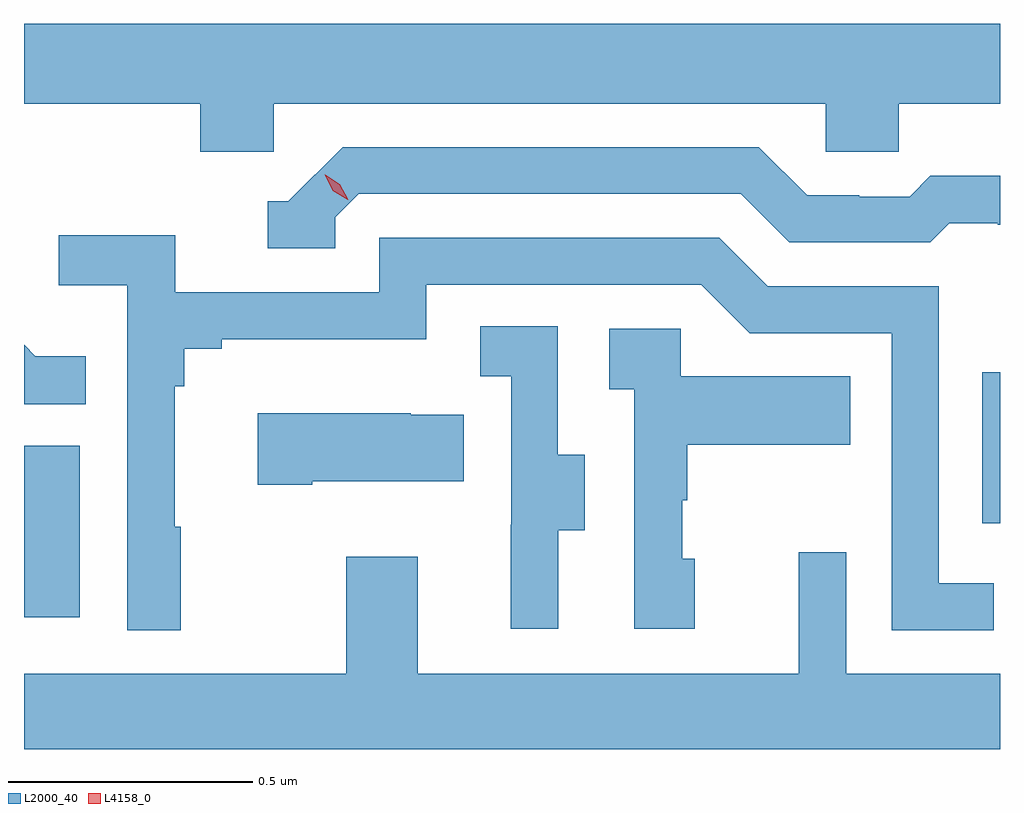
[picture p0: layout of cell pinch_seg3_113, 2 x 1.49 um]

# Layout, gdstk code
import gdstk
lib = gdstk.Library(unit=1e-6, precision=1e-09)
def R(c, l, rs):  # rectangles x0, y0, x1, y1
    for r in rs: c.add(gdstk.rectangle(r[:2], r[2:], *l))
def P(c, l, *ps):  # polygons
    for p in ps: c.add(gdstk.Polygon(p, *l))
L2000_40 = (2000, 40)
L4158_0 = (4158, 0)

pinch_seg3_113 = lib.new_cell('pinch_seg3_113')
R(pinch_seg3_113, L2000_40, [(1020.754,707.856,1020.868,708.207), (1022.718,708.048,1022.754,708.358)])
P(pinch_seg3_113, L2000_40, [(1020.754,708.908),(1021.115,708.908),(1021.115,708.81),(1021.266,708.81),(1021.266,708.908),(1022.397,708.908),(1022.397,708.81),(1022.547,708.81),(1022.547,708.908),(1022.754,708.908),(1022.754,709.072),(1020.754,709.072)],
  [(1021.392,708.675),(1021.44,708.723),(1022.223,708.723),(1022.322,708.624),(1022.611,708.624),(1022.65,708.663),(1022.749,708.663),(1022.749,708.66),(1022.754,708.66),(1022.754,708.76),(1022.611,708.76),(1022.569,708.717),(1022.466,708.717),(1022.466,708.72),(1022.359,708.72),(1022.26,708.819),(1021.407,708.819),(1021.296,708.708),(1021.253,708.708),(1021.253,708.612),(1021.392,708.612)],
  [(1021.075,708.041),(1021.063,708.041),(1021.063,708.329),(1021.082,708.329),(1021.082,708.406),(1021.159,708.406),(1021.159,708.425),(1021.578,708.425),(1021.578,708.537),(1022.142,708.537),(1022.241,708.438),(1022.532,708.438),(1022.532,707.829),(1022.741,707.829),(1022.741,707.925),(1022.628,707.925),(1022.628,708.534),(1022.278,708.534),(1022.179,708.633),(1021.482,708.633),(1021.482,708.522),(1021.064,708.522),(1021.064,708.638),(1020.825,708.638),(1020.825,708.536),(1020.966,708.536),(1020.966,707.829),(1021.075,707.829)],
  [(1021.849,708.034),(1021.903,708.034),(1021.903,708.189),(1021.848,708.189),(1021.848,708.452),(1021.689,708.452),(1021.689,708.349),(1021.752,708.349),(1021.752,708.045),(1021.751,708.045),(1021.751,707.832),(1021.849,707.832)],
  [(1022.128,707.976),(1022.103,707.976),(1022.103,708.095),(1022.113,708.095),(1022.113,708.209),(1022.447,708.209),(1022.447,708.349),(1022.1,708.349),(1022.1,708.447),(1021.953,708.447),(1021.953,708.323),(1022.004,708.323),(1022.004,707.832),(1022.128,707.832)],
  [(1020.881,708.391),(1020.777,708.391),(1020.754,708.414),(1020.754,708.292),(1020.881,708.292)],
  [(1021.345,708.134),(1021.655,708.134),(1021.655,708.271),(1021.547,708.271),(1021.547,708.274),(1021.233,708.274),(1021.233,708.127),(1021.345,708.127)],
  [(1022.754,707.74),(1022.439,707.74),(1022.439,707.989),(1022.342,707.989),(1022.342,707.74),(1021.561,707.74),(1021.561,707.98),(1021.414,707.98),(1021.414,707.74),(1020.754,707.74),(1020.754,707.585),(1022.754,707.585)])
P(pinch_seg3_113, L4158_0, [(1021.417,708.711),(1021.387,708.73),(1021.37,708.762),(1021.37,708.762),(1021.371,708.762),(1021.401,708.743),(1021.418,708.711),(1021.418,708.711)])

lib.write_gds('pinch_seg3_113.gds')
